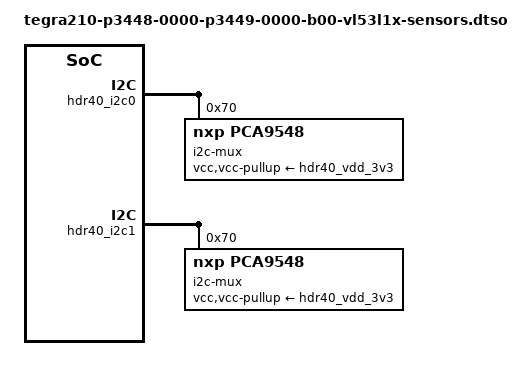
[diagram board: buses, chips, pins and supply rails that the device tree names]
/dts-v1/;
/plugin/;


/ {
        compatible = "nvidia,p3449-0000-b00+p3448-0000-b00";

        fragment@0 {
                target = <&hdr40_i2c0>;
                
                __overlay__ {
                        #address-cells = <1>;
                        #size-cells = <0>;

                        i2c-mux@70 {
                                compatible = "nxp,pca9548";
                                reg = <0x70>;
                                vcc-supply = <&hdr40_vdd_3v3>;
                                vcc-pullup-supply = <&hdr40_vdd_3v3>;
                                skip_mux_detect;
                                #address-cells = <1>;
                                #size-cells = <0>;

                                i2c@0 {
                                        reg = <0>;
                                        i2c-chardev-alias = "laser-0";
                                        #address-cells = <1>;
                                        #size-cells = <0>;
                                };
                                
                                i2c@1 {
                                        reg = <1>;
                                        i2c-chardev-alias = "laser-1";
                                        #address-cells = <1>;
                                        #size-cells = <0>;
                                };
                                
                                i2c@2 {
                                        reg = <2>;
                                        i2c-chardev-alias = "laser-2";
                                        #address-cells = <1>;
                                        #size-cells = <0>;
                                };
                                
                                i2c@3 {
                                        reg = <3>;
                                        i2c-chardev-alias = "laser-3";
                                        #address-cells = <1>;
                                        #size-cells = <0>;
                                };
                                
                                i2c@4 {
                                        reg = <4>;
                                        i2c-chardev-alias = "laser-4";
                                        #address-cells = <1>;
                                        #size-cells = <0>;
                                };
                        };
                };
        };

        fragment@1 {
                target = <&hdr40_i2c1>;
                
                __overlay__ {
                        #address-cells = <1>;
                        #size-cells = <0>;

                        i2c-mux@70 {
                                compatible = "nxp,pca9548";
                                reg = <0x70>;
                                vcc-supply = <&hdr40_vdd_3v3>;
                                vcc-pullup-supply = <&hdr40_vdd_3v3>;
                                skip_mux_detect;                                
                                #address-cells = <1>;
                                #size-cells = <0>;

                                i2c@0 {
                                        reg = <0>;
                                        i2c-chardev-alias = "laser-5";
                                        #address-cells = <1>;
                                        #size-cells = <0>;
                                };
                                
                                i2c@1 {
                                        reg = <1>;
                                        i2c-chardev-alias = "laser-6";
                                        #address-cells = <1>;
                                        #size-cells = <0>;
                                };
                                
                                i2c@2 {
                                        reg = <2>;
                                        i2c-chardev-alias = "laser-7";
                                        #address-cells = <1>;
                                        #size-cells = <0>;
                                };
                                
                                i2c@3 {
                                        reg = <3>;
                                        i2c-chardev-alias = "laser-8";
                                        #address-cells = <1>;
                                        #size-cells = <0>;
                                };
                                
                                i2c@4 {
                                        reg = <4>;
                                        i2c-chardev-alias = "laser-9";
                                        #address-cells = <1>;
                                        #size-cells = <0>;
                                };
                        };
                };
        };
};
